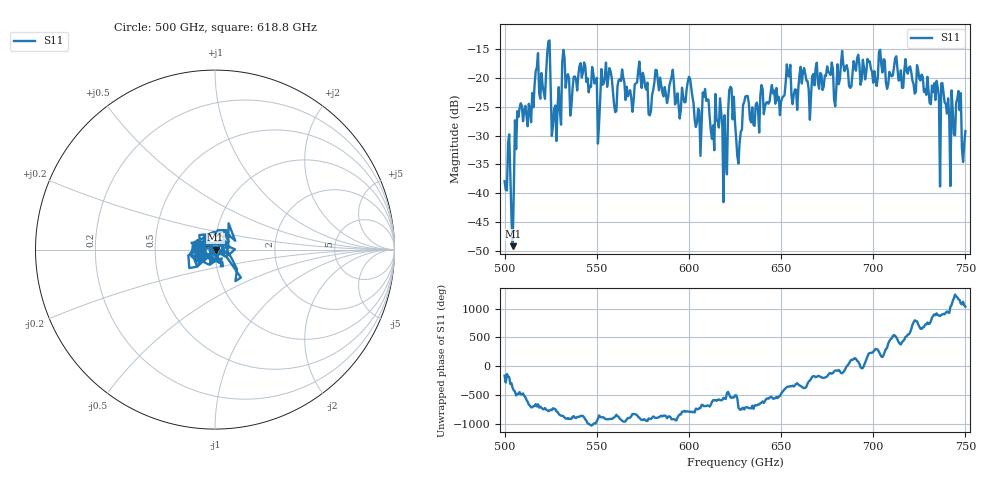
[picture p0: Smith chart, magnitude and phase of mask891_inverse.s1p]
!Created with skrf (http://scikit-rf.org).
# GHz S MA R 50.0
!freq magS11 angS11
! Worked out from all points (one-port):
!   401 points, 500 GHz to 750 GHz, reference 50 ohm
!   lowest |S11| = -49.2 dB at 504.4 GHz (marker M1), VSWR 1.01, Z = 50.3 - j0.116 ohm
!   |S11| at or under -10 dB: start of sweep to end of sweep
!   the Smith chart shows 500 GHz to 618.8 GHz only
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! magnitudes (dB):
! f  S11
! 500 GHz  -37.9
! 504.4 GHz  -49.2
! 508.1 GHz  -25.2
! 523.8 GHz  -13.6
! 526.9 GHz  -25.3
! 531.2 GHz  -17.3
! 542.5 GHz  -19.0
! 550.6 GHz  -31.4
! 553.8 GHz  -20.9
! 560 GHz  -25.9
! 562.5 GHz  -20.2
! 590.6 GHz  -19.7
! 593.8 GHz  -22.6
! 600 GHz  -19.8
! 605 GHz  -25.3
! 608.8 GHz  -21.9
! 612.5 GHz  -30.6
! 616.9 GHz  -23.5
! 619.4 GHz  -26.4
! 622.5 GHz  -21.5
! 625 GHz  -27.7
! 656.2 GHz  -24.5
! 687.5 GHz  -21.7
! 718.8 GHz  -19.2
! 738.1 GHz  -22.5
! 743.1 GHz  -25.5
! 746.2 GHz  -22.2
! 750 GHz  -29.2
